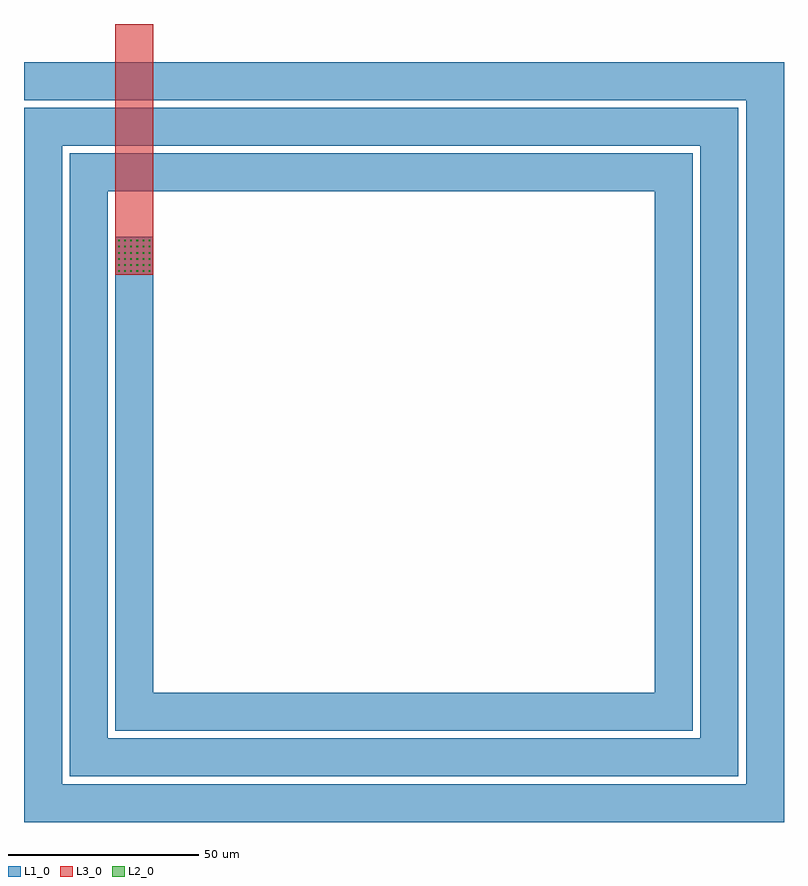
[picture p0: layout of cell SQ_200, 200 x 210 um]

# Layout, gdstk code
import gdstk
lib = gdstk.Library(unit=1e-6, precision=1e-09)
def R(c, l, rs):  # rectangles x0, y0, x1, y1
    for r in rs: c.add(gdstk.rectangle(r[:2], r[2:], *l))
def A(c, l, x, y, w, h, nx, ny, dx, dy):  # array of equal rectangles
    R(c, l, [(x+i*dx, y+j*dy, x+i*dx+w, y+j*dy+h) for i in range(nx) for j in range(ny)])
def P(c, l, *ps):  # polygons
    for p in ps: c.add(gdstk.Polygon(p, *l))
L1_0 = (1, 0)
L2_0 = (2, 0)
L3_0 = (3, 0)

sq_200 = lib.new_cell('SQ_200')
R(sq_200, L1_0, [(224.005,344,233.995,354)])
P(sq_200, L1_0, [(200,390),(200,400),(400,400),(390,390)],
  [(400,200),(390,210),(390,390),(400,400)],
  [(200,200),(210,210),(390,210),(400,200)],
  [(200,200),(200,388),(210,378),(210,210)],
  [(210,378),(200,388),(388,388),(378,378)],
  [(388,212),(378,222),(378,378),(388,388)],
  [(212,212),(222,222),(378,222),(388,212)],
  [(212,212),(212,376),(222,366),(222,222)],
  [(222,366),(212,376),(376,376),(366,366)],
  [(376,224),(366,234),(366,366),(376,376)],
  [(224,224),(234,234),(366,234),(376,224)],
  [(224,224),(224,354),(234,354),(234,234)])
A(sq_200, L2_0, 224.8, 344.8, 0.4, 0.4, 6, 6, 1.6, 1.6)
R(sq_200, L3_0, [(224,344,234,410), (224.005,344,233.995,354)])

lib.write_gds('SQ_200.gds')
